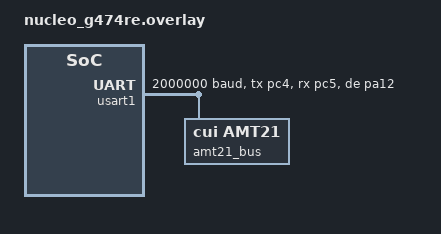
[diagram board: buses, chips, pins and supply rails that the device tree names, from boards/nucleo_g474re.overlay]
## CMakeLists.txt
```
#-------------------------------------------------------------------------------
# Zephyr Example Application
#
# Copyright (c) 2021 Nordic Semiconductor ASA
# SPDX-License-Identifier: Apache-2.0

cmake_minimum_required(VERSION 3.13.1)
find_package(Zephyr REQUIRED HINTS $ENV{ZEPHYR_BASE})

project(app LANGUAGES C CXX)

target_sources(app PRIVATE src/main.cpp src/robomaster_protocol.cpp)
```

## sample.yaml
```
# SPDX-License-Identifier: Apache-2.0
#
# Twister descriptor for the application. Only the metadata twister needs to
# discover the app lives here; the source under src/ and the overlays under
# boards/ are unchanged.

sample:
  name: example-application
  description: Example application

common:
  build_only: true
  integration_platforms:
    - nucleo_g474re

tests:
  app.default: {}
  app.debug:
    extra_overlay_confs:
      - debug.conf
```

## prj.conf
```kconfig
# Copyright (c) 2021 Nordic Semiconductor ASA
# SPDX-License-Identifier: Apache-2.0
#
# This file contains selected Kconfig options for the application.

CONFIG_SENSOR=y
CONFIG_BLINK=y
CONFIG_MOTOR=y
CONFIG_ENCODER=y

# The AMT21 transport keeps reception permanently enabled through the
# asynchronous UART API, which is backed by DMA on STM32.
CONFIG_UART_ASYNC_API=y

CONFIG_LOG=y
# CONFIG_USB_DRIVER_LOG_LEVEL_ERR=y
# CONFIG_USB_DEVICE_LOG_LEVEL_ERR=y
# CONFIG_USB_DEVICE_GS_USB_LOG_LEVEL_DBG=y
# CONFIG_CANNECTIVITY_LOG_LEVEL_DBG=y

# CONFIG_USB_DEVICE_STACK=y
# CONFIG_USB_DEVICE_BOS=y
# CONFIG_USB_DEVICE_INITIALIZE_AT_BOOT=n

CONFIG_CAN=y
CONFIG_CAN_FD_MODE=y
CONFIG_LTO=y
CONFIG_ISR_TABLES_LOCAL_DECLARATION=y
```

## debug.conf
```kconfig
# Copyright (c) 2021 Nordic Semiconductor ASA
# SPDX-License-Identifier: Apache-2.0
#
# This is a Kconfig fragment which can be used to enable debug-related options
# in the application. See the README for more details.

# compiler
CONFIG_DEBUG_OPTIMIZATIONS=y

# logging
CONFIG_LOG=y
CONFIG_APP_LOG_LEVEL_DBG=y

# AMT21 diagnostics. The per-cause counters tell a checksum failure apart from a
# timeout or a framing desync, and the error log keeps the raw bytes that were
# received, which is what makes a dropped response diagnosable at all.
CONFIG_ENCODER_AMT21_STATS=y
CONFIG_ENCODER_AMT21_ERROR_LOG_SIZE=16
```

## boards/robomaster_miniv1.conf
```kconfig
CONFIG_DEPRECATION_TEST=y

CONFIG_USB_DEVICE_STACK=y
CONFIG_USB_DEVICE_BOS=y
CONFIG_USB_COMPOSITE_DEVICE=y

CONFIG_USB_DEVICE_MANUFACTURER="Fibril"
CONFIG_USB_DEVICE_PRODUCT="RoboMaster Mini V1"
CONFIG_USB_DEVICE_GS_USB_MAX_CHANNELS=1

CONFIG_ISR_TABLES_LOCAL_DECLARATION=n
CONFIG_LTO=n
```

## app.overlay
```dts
/*
 * Copyright (c) 2022-2025 Henrik Brix Andersen <henrik@brixandersen.dk>
 *
 * SPDX-License-Identifier: Apache-2.0
 */

/ {
    // gs_usb0: gs_usb0 {
        //     compatible = "gs_usb";
        //     label = "gs_usb";
    // };
};
```

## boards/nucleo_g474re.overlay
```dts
/*
 * Copyright (c) 2021 Nordic Semiconductor ASA
 * SPDX-License-Identifier: Apache-2.0
 */

/* This devicetree overlay file will be automatically picked by the Zephyr
 * build system when building the sample for the nucleo_f302r8 board. It shows
 * how the example-application can be built on sample boards already provided
 * by Zephyr.
 */

/ {
    robomaster_controller: robomaster-controller {
        compatible = "dji,robomaster";
        #address-cells = <1>;
        #size-cells = <0>;
        cans = <&fdcan1>;
        feedback-timeout-ms = <100>;

        motor_front_left: motor@1 {
            compatible = "dji,robomaster-motor";
            reg = <1>;
            model = "c620";
            max-current = <10000>;
        };

        motor_front_right: motor@2 {
            compatible = "dji,robomaster-motor";
            reg = <2>;
            model = "c620";
            max-current = <10000>;
        };
    };
};

/*
 * AMT21x absolute encoders on a half-duplex RS485 bus.
 *
 * PLACEHOLDER PIN ASSIGNMENT. USART1 is used because the board already brings it
 * out on PC4/PC5 and because LPUART1 is taken by the console. The driver enable
 * output is put on PA12, which nothing else on this board claims. Confirm all
 * three against the actual wiring before relying on this.
 */
&usart1 {
    /* 2 Mbps is the rate of the A to D options of the series. The E to H options
     * default to 115200; lower this and raise response-timeout-us for those.
     */
    current-speed = <2000000>;

    pinctrl-0 = <&usart1_tx_pc4 &usart1_rx_pc5 &usart1_de_pa12>;
    pinctrl-names = "default";

    /*
     * Let the USART drive the transceiver itself. Toggling driver enable from
     * software would add latency around the 3 us turnaround window and is not
     * viable at 2 Mbps.
     *
     * Keep the assert and deassert times small. They are in sixteenths of a bit
     * time, and a large deassert time holds the transceiver enabled past our own
     * stop bit, straight into the window where the encoder starts replying. That
     * collision corrupts both frames.
     */
    de-enable;
    de-assert-time = <2>;
    de-deassert-time = <2>;

    /* The asynchronous API is backed by DMA on STM32: uart_rx_enable() returns
     * -ENODEV without it. 24 and 25 are the DMAMUX request lines for USART1 RX
     * and TX on this SoC.
     */
    dmas = <&dma1 1 25 (STM32_DMA_PERIPH_TX | STM32_DMA_PRIORITY_HIGH)>,
           <&dma1 2 24 (STM32_DMA_PERIPH_RX | STM32_DMA_PRIORITY_HIGH)>;
    dma-names = "tx", "rx";

    status = "okay";

    amt21_bus: amt21 {
        compatible = "cui,amt21";
        #address-cells = <1>;
        #size-cells = <0>;

        /* The absolute position update rate of the encoder is 100 us for 14-bit
         * and 25 us for 12-bit devices, so polling faster gains nothing.
         */
        poll-interval-us = <1000>;
        response-timeout-us = <200>;
        inter-command-delay-us = <100>;
        rx-quiet-period-us = <20>;
        max-retries = <2>;
        offline-threshold = <3>;

        /* 100 ms is long enough that an absent encoder costs the bus nothing
         * worth measuring, and short enough that reconnecting one does not feel
         * unresponsive.
         */
        offline-poll-interval-us = <100000>;

        /* The turns counter is read only to rebuild the accumulator, which is
         * all the accumulated position needs. Add poll-turns to either node to
         * watch the device's own counter during bring-up, at the cost of
         * doubling what that encoder takes from the bus.
         */
        encoder_left: encoder@54 {
            compatible = "cui,amt21-encoder";
            reg = <0x54>;
            resolution = <14>;
            multiturn;
        };

        encoder_right: encoder@58 {
            compatible = "cui,amt21-encoder";
            reg = <0x58>;
            resolution = <14>;
            multiturn;
        };
    };
};

&dma1 {
    status = "okay";
};

&dmamux1 {
    status = "okay";
};
```

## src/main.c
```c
/*
 * Copyright (c) 2021 Nordic Semiconductor ASA
 * SPDX-License-Identifier: Apache-2.0
 */

#include <inttypes.h>
#include <stdlib.h>

#include <app/drivers/blink.h>
#include <app_version.h>
#include <drivers/encoder.h>
#include <drivers/encoder/amt21.h>
#include <drivers/motor.h>
#include <zephyr/drivers/sensor.h>
#include <zephyr/kernel.h>
#include <zephyr/logging/log.h>

LOG_MODULE_REGISTER(main, CONFIG_APP_LOG_LEVEL);

#define BLINK_PERIOD_MS_STEP 100U
#define BLINK_PERIOD_MS_MAX 1000U

#define ENCODER_REPORT_PERIOD K_MSEC(1000)

#if DT_NODE_EXISTS(DT_NODELABEL(encoder_left))

static void report_encoder(const struct device * dev)
{
  struct encoder_feedback fb;
  int ret = encoder_get_feedback(dev, &fb);

  /* A stale reading still carries the last good value, so print it along with
   * the reason it is not fresh rather than discarding it.
   */
  /* Velocity has no value until a second reading gives it an interval to be
   * measured over, so printing it unconditionally would show a stale number
   * after every rebuild of the accumulator.
   */
  if ((fb.valid_mask & ENCODER_FEEDBACK_VELOCITY) != 0U) {
    LOG_INF(
      "%s: ret=%d pos=%" PRId64 " vel=%d single=%u turns=%d epoch=%u online=%d stale=%d "
      "errors=%u",
      dev->name, ret, fb.position, fb.velocity, fb.single_turn, fb.turns, fb.position_epoch,
      (int)fb.online, (int)fb.stale, fb.error_count);
  } else {
    LOG_INF(
      "%s: ret=%d pos=%" PRId64 " vel=n/a single=%u turns=%d epoch=%u online=%d stale=%d "
      "errors=%u",
      dev->name, ret, fb.position, fb.single_turn, fb.turns, fb.position_epoch, (int)fb.online,
      (int)fb.stale, fb.error_count);
  }

#if defined(CONFIG_ENCODER_AMT21_STATS)
  struct amt21_stats stats;

  if (amt21_get_stats(dev, &stats) == 0) {
    LOG_INF(
      "  transactions=%u ok=%u timeout=%u checksum=%u desync=%u echo=%u bus=%u retries=%u",
      stats.transactions, stats.successes, stats.errors[AMT21_ERROR_TIMEOUT],
      stats.errors[AMT21_ERROR_CHECKSUM], stats.errors[AMT21_ERROR_DESYNC],
      stats.errors[AMT21_ERROR_ECHO], stats.errors[AMT21_ERROR_BUS], stats.retries);
  }
#endif
}

static void report_bus(void)
{
#if defined(CONFIG_ENCODER_AMT21_STATS)
  const struct device * bus = DEVICE_DT_GET(DT_NODELABEL(amt21_bus));
  struct amt21_bus_stats stats;

  if (amt21_bus_get_stats(bus, &stats) == 0) {
    LOG_INF(
      "%s: scans=%u skipped=%u rx_restarts=%u framing=%u overrun=%u stray=%u", bus->name,
      stats.scans, stats.scans_skipped, stats.rx_restarts, stats.framing_errors,
      stats.overrun_errors, stats.stray_bytes);
  }
#endif
}

#endif /* DT_NODE_EXISTS(DT_NODELABEL(encoder_left)) */

int main(void)
{
  const struct device * robomaster = DEVICE_DT_GET(DT_NODELABEL(robomaster_controller));
  ARG_UNUSED(robomaster);

#if DT_NODE_EXISTS(DT_NODELABEL(encoder_left))
  const struct device * encoder_left = DEVICE_DT_GET(DT_NODELABEL(encoder_left));
  const struct device * encoder_right = DEVICE_DT_GET(DT_NODELABEL(encoder_right));

  if (!device_is_ready(encoder_left)) {
    LOG_ERR("%s is not ready", encoder_left->name);
    return -ENODEV;
  }

  while (true) {
    report_encoder(encoder_left);
    report_encoder(encoder_right);
    report_bus();

    k_sleep(ENCODER_REPORT_PERIOD);
  }
#endif

  return 0;
}
```

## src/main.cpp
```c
/*
 * Copyright (c) 2021 Nordic Semiconductor ASA
 * SPDX-License-Identifier: Apache-2.0
 */

#include <array>
#include <cerrno>

#include <app_version.h>
#include <drivers/motor.h>
#include <fibril/motor_control.hpp>
#include <fibril/robomaster_protocol.hpp>
#include <zephyr/device.h>
#include <zephyr/devicetree.h>
#include <zephyr/kernel.h>
#include <zephyr/logging/log.h>

#if defined(CONFIG_USB_DEVICE_GS_USB)
#include <zephyr/usb/bos.h>
#include <zephyr/usb/usb_device.h>

#include <cannectivity/usb/class/gs_usb.h>
#endif

LOG_MODULE_REGISTER(main, CONFIG_APP_LOG_LEVEL);

#if defined(CONFIG_USB_DEVICE_GS_USB)
USB_DEVICE_BOS_DESC_DEFINE_CAP const struct usb_bos_capability_lpm bos_cap_lpm = {
  .bLength = sizeof(struct usb_bos_capability_lpm),
  .bDescriptorType = USB_DESC_DEVICE_CAPABILITY,
  .bDevCapabilityType = USB_BOS_CAPABILITY_EXTENSION,
  .bmAttributes = 0UL,
};

static int app_usb_init(void)
{
  usb_bos_register_cap((void *)&bos_cap_lpm);

  return usb_enable(NULL);
}
#endif

namespace
{
constexpr std::array<const struct device *, fibril::MotorControlService::MotorCount> motor_devices = {
  DEVICE_DT_GET(DT_NODELABEL(motor_1)),
  DEVICE_DT_GET(DT_NODELABEL(motor_2)),
  DEVICE_DT_GET(DT_NODELABEL(motor_3)),
  DEVICE_DT_GET(DT_NODELABEL(motor_4)),
  DEVICE_DT_GET(DT_NODELABEL(motor_5)),
  DEVICE_DT_GET(DT_NODELABEL(motor_6)),
  DEVICE_DT_GET(DT_NODELABEL(motor_7)),
  DEVICE_DT_GET(DT_NODELABEL(motor_8)),
};

constexpr std::array<fibril::MotorControlConfig, fibril::MotorControlService::MotorCount>
  motor_configs = {{
    {DEVICE_DT_GET(DT_NODELABEL(motor_1)), DT_PROP(DT_NODELABEL(motor_1), max_current)},
    {DEVICE_DT_GET(DT_NODELABEL(motor_2)), DT_PROP(DT_NODELABEL(motor_2), max_current)},
    {DEVICE_DT_GET(DT_NODELABEL(motor_3)), DT_PROP(DT_NODELABEL(motor_3), max_current)},
    {DEVICE_DT_GET(DT_NODELABEL(motor_4)), DT_PROP(DT_NODELABEL(motor_4), max_current)},
    {DEVICE_DT_GET(DT_NODELABEL(motor_5)), DT_PROP(DT_NODELABEL(motor_5), max_current)},
    {DEVICE_DT_GET(DT_NODELABEL(motor_6)), DT_PROP(DT_NODELABEL(motor_6), max_current)},
    {DEVICE_DT_GET(DT_NODELABEL(motor_7)), DT_PROP(DT_NODELABEL(motor_7), max_current)},
    {DEVICE_DT_GET(DT_NODELABEL(motor_8)), DT_PROP(DT_NODELABEL(motor_8), max_current)},
  }};
}  // namespace

extern "C" int main(void)
{
  int ret;

#if DT_NODE_HAS_STATUS(DT_NODELABEL(robomaster_controller), okay)
  const struct device * robomaster = DEVICE_DT_GET(DT_NODELABEL(robomaster_controller));

  if (!device_is_ready(robomaster)) {
    LOG_ERR("RoboMaster transport is not ready");
    return -ENODEV;
  }
#endif

  for (const struct device * motor : motor_devices) {
    if (!device_is_ready(motor)) {
      LOG_ERR("A motor device is not ready");
      return -ENODEV;
    }
  }

#if DT_NODE_HAS_STATUS(DT_NODELABEL(fdcan1), okay)
  const struct device * control_can = DEVICE_DT_GET(DT_NODELABEL(fdcan1));
  if (!device_is_ready(control_can)) {
    LOG_ERR("Control CAN is not ready");
    return -ENODEV;
  }
#else
  LOG_ERR("Control CAN is missing");
  return -ENODEV;
#endif

#if DT_NODE_HAS_STATUS(DT_NODELABEL(fdcan2), okay)
  if (!device_is_ready(DEVICE_DT_GET(DT_NODELABEL(fdcan2)))) {
    LOG_ERR("Motor CAN0 is not ready");
    return -ENODEV;
  }
#endif

#if DT_NODE_HAS_STATUS(DT_NODELABEL(fdcan3), okay)
  if (!device_is_ready(DEVICE_DT_GET(DT_NODELABEL(fdcan3)))) {
    LOG_ERR("Motor CAN1 is not ready");
    return -ENODEV;
  }
#endif

#if defined(CONFIG_USB_DEVICE_GS_USB) && DT_HAS_CHOSEN(zephyr_canbus) && \
  DT_NODE_HAS_STATUS(DT_NODELABEL(gs_usb0), okay)
  const struct device * gs_usb = DEVICE_DT_GET(DT_NODELABEL(gs_usb0));
  const struct device * channels[] = {
    DEVICE_DT_GET(DT_CHOSEN(zephyr_canbus)),
  };

  if (!device_is_ready(gs_usb)) {
    LOG_ERR("gs_usb device is not ready");
    return -ENODEV;
  }

  ret = gs_usb_register(gs_usb, channels, ARRAY_SIZE(channels), NULL, NULL);
  if (ret != 0) {
    LOG_ERR("Failed to register gs_usb: %d", ret);
    return ret;
  }

  ret = app_usb_init();
  if (ret != 0) {
    LOG_ERR("Failed to initialize USB: %d", ret);
    return ret;
  }
#endif

  static fibril::MotorControlService motor_control;
  ret = motor_control.init(motor_configs);
  if (ret != 0) {
    LOG_ERR("Failed to initialize motor control: %d", ret);
    return ret;
  }

  ret = motor_control.start();
  if (ret != 0) {
    LOG_ERR("Failed to start motor control: %d", ret);
    return ret;
  }

  static fibril::RoboMasterProtocolService protocol(control_can, motor_control, motor_devices);
  ret = protocol.start();
  if (ret != 0) {
    LOG_ERR("Failed to start RoboMaster protocol: %d", ret);
    return ret;
  }

  LOG_INF("RoboMaster Mini V1 control stack ready");
  return 0;
}
```

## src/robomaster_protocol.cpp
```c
#include <fibril/robomaster_protocol.hpp>

#include <array>
#include <bitset>
#include <cerrno>
#include <cstdint>
#include <cstring>

#include <drivers/motor.h>
#include <fibril/data/serde.hpp>
#include <zephyr/drivers/can.h>
#include <zephyr/kernel.h>
#include <zephyr/logging/log.h>
#include <zephyr/sys/util.h>

LOG_MODULE_REGISTER(robomaster_protocol, CONFIG_APP_LOG_LEVEL);

namespace fibril
{
namespace
{
using CANID = uint16_t;
using MotorID = uint8_t;
using TestData = uint8_t;

constexpr CANID HeartbeatId = 0x10;
constexpr CANID ProtocolOffset = 0x00;
constexpr CANID CmdId = 0x170;
constexpr CANID CallbackId = 0x160;
constexpr uint8_t ProtocolVersion = 6;
constexpr uintptr_t OwnerToken = 0x524d4d31U;
constexpr size_t FrameQueueLen = 16;
constexpr int ThreadStackSize = 4096;

enum class Command : uint8_t {
  RESET,
  TEST,
  CMD_SET_DUTY,
  CMD_SET_SPEED,
  CMD_SET_CURRENT,
  CMD_SUB_SETTING,
  DEPRECATED_CALLBACK_ENC_DIFF,
  CALLBACK_OUTPUT_VALUE,
  CALLBACK_CURRENT_VALUE,
  CMD_SET_POSITION,
  CMD_SET_ENCODER_VALUE,
  CMD_SET_POSITION_WITH_SPEED,
  CMD_RESET_SAFETY,
  CALLBACK_MOTOR_STATUS,
  CALLBACK_ENC_VALUE,
  CMD_RESET_ENCODER_VALUE,
  ENABLE_FEATURE,
  DISABLE_FEATURE,
  CALLBACK_ARRIVAL,
  CMD_CALIBRATION_START,
  CALLBACK_CALIBRATION_DATA,
  CMD_SET_ENCODER_OFFSET,
  RESERVED_1,
  CALLBACK_BULK_POSITION,
  CALLBACK_BULK_CURRENT,
  CALLBACK_BULK_OUTPUT,
  CALLBACK_BULK_ADC,
  CALLBACK_BULK_VELOCITY,
  CMD_CALIBRATION_FINISH,
};

enum class Config : uint8_t {
  DUTY_SEND,
  ENCODER_GAIN,
  ENCODER_SEND,
  CURRENT_SEND,
  SPEED_CONTROLLER_MAX,
  SPEED_CONTROLLER_KP,
  SPEED_CONTROLLER_KI,
  SPEED_CONTROLLER_KD,
  CURRENT_CONTROLLER_MAX,
  CURRENT_CONTROLLER_KP,
  CURRENT_CONTROLLER_KI,
  CURRENT_CONTROLLER_KD,
  CMD_TIMEOUT,
  POSITION_CONTROLLER_MAX,
  POSITION_CONTROLLER_KP,
  POSITION_CONTROLLER_KI,
  POSITION_CONTROLLER_KD,
  POSITION_SPEED_CONTROLLER_MAX,
  POSITION_SPEED_CONTROLLER_KP,
  POSITION_SPEED_CONTROLLER_KI,
  POSITION_SPEED_CONTROLLER_KD,
  SAFETY_ENCODER_TIMEOUT,
  ENCODER_SEND_SUM,
  DUTY_DELTA_MAX,
  LIMIT_PROFILE_APPLY,
  LIMIT_PROFILE_CLEAR,
  LIMIT_PROFILE_ADD_POINT,
  LIMIT_PROFILE_SET_FORWARD_SPEED_LIMIT,
  LIMIT_PROFILE_SET_BACKWARD_SPEED_LIMIT,
  LIMIT_PROFILE_SET_ACCELERATION_LIMIT,
  LIMIT_PROFILE_SET_DECELERATION_LIMIT,
  CALIBRATION_CONFIG_PORT,
  CALIBRATION_CONFIG_MAPPING,
  POSITION_TOLERANCE,
  CONTROL_FREQUENCY,
  SPEED_LOW_PASS_FILTER_COEFFICIENT,
  SPEED_CONTROLLER_I_SATURATION,
  POSITION_CONTROLLER_I_SATURATION,
  CURRENT_CONTROLLER_I_SATURATION,
  BULK_POSITION_CALLBACK_INTERVAL,
  BULK_CURRENT_CALLBACK_INTERVAL,
  BULK_OUTPUT_CALLBACK_INTERVAL,
  BULK_ADC_CALLBACK_INTERVAL,
  BULK_VELOCITY_CALLBACK_INTERVAL,
};

enum class Response : uint8_t {
  SUCCESS,
  ERROR_UNKNOWN_CODE,
  ERROR_OUT_OF_RANGE,
  ERROR_NO_ITEM,
  ERROR_MOTOR_IS_USED,
};

struct ProtocolFrame
{
  uint32_t id;
  uint8_t dlc;
  uint8_t flags;
  uint8_t data[64];
};

K_MSGQ_DEFINE(robomaster_protocol_msgq, sizeof(ProtocolFrame), FrameQueueLen, 4);
}  // namespace

struct RoboMasterProtocolService::Impl
{
  const struct device * control_can;
  MotorControlService & motor_control;
  const std::array<const struct device *, MotorCount> & motors;
  SoftwareWatchdog board_watchdog{1000};
  int cmd_filter_id = -1;
  int heartbeat_filter_id = -1;
  struct k_thread thread;
  k_tid_t thread_id = nullptr;
  K_KERNEL_STACK_MEMBER(stack, ThreadStackSize);

  std::array<float, MotorCount> speed_kp{};
  std::array<float, MotorCount> speed_ki{};
  std::array<float, MotorCount> speed_kd{};
  std::array<float, MotorCount> speed_max{};
  std::array<float, MotorCount> position_kp{};
  std::array<float, MotorCount> position_ki{};
  std::array<float, MotorCount> position_kd{};
  std::array<float, MotorCount> position_max{};

  Impl(
    const struct device * control_can, MotorControlService & motor_control,
    const std::array<const struct device *, MotorCount> & motors)
  : control_can(control_can), motor_control(motor_control), motors(motors)
  {
    speed_max.fill(1.0f);
    position_max.fill(1.0f);
  }

  static void rx_callback(
    const struct device *, struct can_frame * frame, void * user_data)
  {
    auto * self = static_cast<Impl *>(user_data);
    ProtocolFrame queued = {
      .id = frame->id,
      .dlc = frame->dlc,
      .flags = frame->flags,
    };
    std::memcpy(queued.data, frame->data, can_dlc_to_bytes(frame->dlc));
    const int ret = k_msgq_put(&robomaster_protocol_msgq, &queued, K_NO_WAIT);
    if (ret != 0) {
      LOG_WRN("Protocol RX queue full");
    }
    ARG_UNUSED(self);
  }

  static void thread_entry(void * arg1, void *, void *)
  {
    static_cast<Impl *>(arg1)->run();
  }

  bool connected() const
  {
    return board_watchdog.alive();
  }

  template <typename... Args>
  int send_serialized(Args &&... args)
  {
    struct can_frame frame = {
      .id = CallbackId + ProtocolOffset,
      .flags = 0U,
    };
    static_assert(fibril::serde::get_size<Args...>() <= 64);
    const size_t len = fibril::serde::write(frame.data, std::forward<Args>(args)...);
    frame.dlc = can_bytes_to_dlc(len);
    if (len > CAN_MAX_DLEN) {
      frame.flags |= CAN_FRAME_FDF;
    }
    return can_send(control_can, &frame, K_MSEC(10), nullptr, nullptr);
  }

  void run()
  {
    int64_t last_heartbeat_ms = 0;
    int64_t last_status_ms = 0;

    while (true) {
      ProtocolFrame frame = {};
      const int ret = k_msgq_get(&robomaster_protocol_msgq, &frame, K_MSEC(20));
      if (ret == 0) {
        handle_frame(frame);
      }

      const int64_t now = k_uptime_get();
      if (connected() && (now - last_heartbeat_ms >= 100)) {
        (void)send_serialized(Command::TEST);
        last_heartbeat_ms = now;
      }
      if (connected() && (now - last_status_ms >= 1000)) {
        send_status();
        last_status_ms = now;
      }
      if (!connected()) {
        motor_control.reset_all();
      }
    }
  }

  void handle_frame(const ProtocolFrame & frame)
  {
    const auto len = can_dlc_to_bytes(frame.dlc);
    if (frame.id == HeartbeatId) {
      if (fibril::serde::read_callback(
            frame.data, len,
            [this](fibril::serde::constant<Command, Command::TEST>) { board_watchdog.kick(); })) {
        return;
      }
    }

    if (frame.id != (CmdId + ProtocolOffset)) {
      return;
    }

    if (fibril::serde::read_callback(
          frame.data, len,
          [this](fibril::serde::constant<Command, Command::RESET>) { motor_control.reset_all(); })) {
      return;
    }

    if (fibril::serde::read_callback(
          frame.data, len,
          [this](fibril::serde::constant<Command, Command::TEST>, uint8_t version, TestData test) {
            ARG_UNUSED(version);
            board_watchdog.reset();
            (void)send_serialized(Command::TEST, ProtocolVersion, test);
          })) {
      return;
    }

    if (!connected()) {
      return;
    }

    if (fibril::serde::read_callback(
          frame.data, len,
          [this](fibril::serde::constant<Command, Command::ENABLE_FEATURE>, MotorID id) {
            handle_enable_feature(id);
          },
          [this](fibril::serde::constant<Command, Command::DISABLE_FEATURE>, MotorID id) {
            handle_disable_feature(id);
          },
          [this](fibril::serde::constant<Command, Command::CMD_SET_DUTY>, MotorID id, float value) {
            handle_set_duty(id, value);
          },
          [this](fibril::serde::constant<Command, Command::CMD_SET_SPEED>, MotorID id, float value) {
            handle_set_speed(id, value);
          },
          [this](
            fibril::serde::constant<Command, Command::CMD_SET_POSITION>, MotorID id, float value) {
            handle_set_position(id, value);
          },
          [this](
            fibril::serde::constant<Command, Command::CMD_SET_POSITION_WITH_SPEED>, MotorID id,
            float value) { handle_set_position_speed(id, value); },
          [this](
            fibril::serde::constant<Command, Command::CMD_SET_ENCODER_VALUE>, MotorID id,
            float value) { handle_set_encoder_value(id, value); },
          [this](fibril::serde::constant<Command, Command::CMD_RESET_SAFETY>, MotorID id) {
            handle_reset_safety(id);
          },
          [this](fibril::serde::constant<Command, Command::CMD_RESET_ENCODER_VALUE>, MotorID id) {
            handle_reset_encoder(id);
          })) {
      board_watchdog.kick();
      return;
    }

    if (handle_config(frame.data, len)) {
      board_watchdog.kick();
    }
  }

  bool validate_motor_id(MotorID id, Command cmd)
  {
    if (id >= MotorCount) {
      (void)send_serialized(cmd, id, Response::ERROR_OUT_OF_RANGE);
      return false;
    }
    return true;
  }

  bool ensure_claimed(MotorID id, Command cmd)
  {
    if (!motor_control.claim(id, OwnerToken)) {
      (void)send_serialized(cmd, id, Response::ERROR_MOTOR_IS_USED);
      return false;
    }
    return true;
  }

  void handle_enable_feature(MotorID id)
  {
    if (!validate_motor_id(id, Command::ENABLE_FEATURE)) {
      return;
    }
    if (!ensure_claimed(id, Command::ENABLE_FEATURE)) {
      return;
    }
    (void)send_serialized(Command::ENABLE_FEATURE, id, Response::SUCCESS);
  }

  void handle_disable_feature(MotorID id)
  {
    if (!validate_motor_id(id, Command::DISABLE_FEATURE)) {
      return;
    }
    motor_control.release(id, OwnerToken);
    (void)send_serialized(Command::DISABLE_FEATURE, id, Response::SUCCESS);
  }

  void handle_set_duty(MotorID id, float value)
  {
    if (!validate_motor_id(id, Command::CMD_SET_DUTY) ||
        !ensure_claimed(id, Command::CMD_SET_DUTY)) {
      return;
    }
    (void)motor_control.set_duty(id, value);
  }

  void handle_set_speed(MotorID id, float value)
  {
    if (!validate_motor_id(id, Command::CMD_SET_SPEED) ||
        !ensure_claimed(id, Command::CMD_SET_SPEED)) {
      return;
    }
    (void)motor_control.set_speed(id, value);
  }

  void handle_set_position(MotorID id, float value)
  {
    if (!validate_motor_id(id, Command::CMD_SET_POSITION) ||
        !ensure_claimed(id, Command::CMD_SET_POSITION)) {
      return;
    }
    (void)motor_control.set_position(id, value);
  }

  void handle_set_position_speed(MotorID id, float value)
  {
    if (!validate_motor_id(id, Command::CMD_SET_POSITION_WITH_SPEED) ||
        !ensure_claimed(id, Command::CMD_SET_POSITION_WITH_SPEED)) {
      return;
    }
    (void)motor_control.set_position_speed(id, value);
  }

  void handle_set_encoder_value(MotorID id, float value)
  {
    if (!validate_motor_id(id, Command::CMD_SET_ENCODER_VALUE)) {
      return;
    }
    const int ret = motor_control.set_encoder_value(id, value);
    (void)send_serialized(
      Command::CMD_SET_ENCODER_VALUE, id,
      ret == 0 ? Response::SUCCESS : Response::ERROR_UNKNOWN_CODE);
  }

  void handle_reset_safety(MotorID id)
  {
    if (!validate_motor_id(id, Command::CMD_RESET_SAFETY)) {
      return;
    }
    const int ret = motor_control.reset_safety(id);
    (void)send_serialized(
      Command::CMD_RESET_SAFETY, id, ret == 0 ? Response::SUCCESS : Response::ERROR_UNKNOWN_CODE);
  }

  void handle_reset_encoder(MotorID id)
  {
    if (!validate_motor_id(id, Command::CMD_RESET_ENCODER_VALUE)) {
      return;
    }
    const int ret = motor_control.reset_encoder(id);
    (void)send_serialized(
      Command::CMD_RESET_ENCODER_VALUE, id,
      ret == 0 ? Response::SUCCESS : Response::ERROR_UNKNOWN_CODE);
  }

  bool handle_config(const uint8_t * data, size_t len)
  {
    return fibril::serde::read_callback(
      data, len,
      [this](
        fibril::serde::constant<Command, Command::CMD_SUB_SETTING>,
        fibril::serde::constant<Config, Config::CMD_TIMEOUT>, uint16_t timeout_ms) {
        board_watchdog.set_timeout(timeout_ms);
        (void)send_serialized(Command::CMD_SUB_SETTING, Config::CMD_TIMEOUT, Response::SUCCESS);
      },
      [this](
        fibril::serde::constant<Command, Command::CMD_SUB_SETTING>,
        fibril::serde::constant<Config, Config::SPEED_CONTROLLER_KP>, MotorID id, float value) {
        set_speed_pid_gain(id, value, speed_ki.at(id), speed_kd.at(id), speed_max.at(id), Config::SPEED_CONTROLLER_KP);
      },
      [this](
        fibril::serde::constant<Command, Command::CMD_SUB_SETTING>,
        fibril::serde::constant<Config, Config::SPEED_CONTROLLER_KI>, MotorID id, float value) {
        set_speed_pid_gain(id, speed_kp.at(id), value, speed_kd.at(id), speed_max.at(id), Config::SPEED_CONTROLLER_KI);
      },
      [this](
        fibril::serde::constant<Command, Command::CMD_SUB_SETTING>,
        fibril::serde::constant<Config, Config::SPEED_CONTROLLER_KD>, MotorID id, float value) {
        set_speed_pid_gain(id, speed_kp.at(id), speed_ki.at(id), value, speed_max.at(id), Config::SPEED_CONTROLLER_KD);
      },
      [this](
        fibril::serde::constant<Command, Command::CMD_SUB_SETTING>,
        fibril::serde::constant<Config, Config::SPEED_CONTROLLER_MAX>, MotorID id, float value) {
        set_speed_pid_gain(id, speed_kp.at(id), speed_ki.at(id), speed_kd.at(id), value, Config::SPEED_CONTROLLER_MAX);
      },
      [this](
        fibril::serde::constant<Command, Command::CMD_SUB_SETTING>,
        fibril::serde::constant<Config, Config::POSITION_CONTROLLER_KP>, MotorID id, float value) {
        set_position_pid_gain(id, value, position_ki.at(id), position_kd.at(id), position_max.at(id), Config::POSITION_CONTROLLER_KP);
      },
      [this](
        fibril::serde::constant<Command, Command::CMD_SUB_SETTING>,
        fibril::serde::constant<Config, Config::POSITION_CONTROLLER_KI>, MotorID id, float value) {
        set_position_pid_gain(id, position_kp.at(id), value, position_kd.at(id), position_max.at(id), Config::POSITION_CONTROLLER_KI);
      },
      [this](
        fibril::serde::constant<Command, Command::CMD_SUB_SETTING>,
        fibril::serde::constant<Config, Config::POSITION_CONTROLLER_KD>, MotorID id, float value) {
        set_position_pid_gain(id, position_kp.at(id), position_ki.at(id), value, position_max.at(id), Config::POSITION_CONTROLLER_KD);
      },
      [this](
        fibril::serde::constant<Command, Command::CMD_SUB_SETTING>,
        fibril::serde::constant<Config, Config::POSITION_CONTROLLER_MAX>, MotorID id, float value) {
        set_position_pid_gain(id, position_kp.at(id), position_ki.at(id), position_kd.at(id), value, Config::POSITION_CONTROLLER_MAX);
      },
      [this](
        fibril::serde::constant<Command, Command::CMD_SUB_SETTING>,
        fibril::serde::constant<Config, Config::DUTY_DELTA_MAX>, MotorID id, float value) {
        if (id >= MotorCount) {
          (void)send_serialized(Command::CMD_SUB_SETTING, Config::DUTY_DELTA_MAX, id, Response::ERROR_OUT_OF_RANGE);
          return;
        }
        const int ret = motor_control.configure_duty_acceleration_limit(id, value);
        (void)send_serialized(
          Command::CMD_SUB_SETTING, Config::DUTY_DELTA_MAX, id,
          ret == 0 ? Response::SUCCESS : Response::ERROR_UNKNOWN_CODE);
      },
      [this](
        fibril::serde::constant<Command, Command::CMD_SUB_SETTING>,
        fibril::serde::constant<Config, Config::POSITION_TOLERANCE>, MotorID id, float value) {
        if (id >= MotorCount) {
          (void)send_serialized(Command::CMD_SUB_SETTING, Config::POSITION_TOLERANCE, id, Response::ERROR_OUT_OF_RANGE);
          return;
        }
        motor_control.set_position_tolerance(id, value);
        (void)send_serialized(Command::CMD_SUB_SETTING, Config::POSITION_TOLERANCE, id, Response::SUCCESS);
      },
      [this](
        fibril::serde::constant<Command, Command::CMD_SUB_SETTING>,
        fibril::serde::constant<Config, Config::SPEED_LOW_PASS_FILTER_COEFFICIENT>, MotorID id,
        float value) {
        if (id >= MotorCount) {
          (void)send_serialized(Command::CMD_SUB_SETTING, Config::SPEED_LOW_PASS_FILTER_COEFFICIENT, id, Response::ERROR_OUT_OF_RANGE);
          return;
        }
        const int ret = motor_control.configure_speed_filter(id, value);
        (void)send_serialized(
          Command::CMD_SUB_SETTING, Config::SPEED_LOW_PASS_FILTER_COEFFICIENT, id,
          ret == 0 ? Response::SUCCESS : Response::ERROR_OUT_OF_RANGE);
      });
  }

  void set_speed_pid_gain(
    MotorID id, float kp, float ki, float kd, float max_output, Config config)
  {
    if (id >= MotorCount) {
      (void)send_serialized(Command::CMD_SUB_SETTING, config, id, Response::ERROR_OUT_OF_RANGE);
      return;
    }
    speed_kp.at(id) = kp;
    speed_ki.at(id) = ki;
    speed_kd.at(id) = kd;
    speed_max.at(id) = max_output;
    const int ret = motor_control.configure_speed_pid(id, kp, ki, kd, max_output);
    (void)send_serialized(
      Command::CMD_SUB_SETTING, config, id, ret == 0 ? Response::SUCCESS : Response::ERROR_UNKNOWN_CODE);
  }

  void set_position_pid_gain(
    MotorID id, float kp, float ki, float kd, float max_output, Config config)
  {
    if (id >= MotorCount) {
      (void)send_serialized(Command::CMD_SUB_SETTING, config, id, Response::ERROR_OUT_OF_RANGE);
      return;
    }
    position_kp.at(id) = kp;
    position_ki.at(id) = ki;
    position_kd.at(id) = kd;
    position_max.at(id) = max_output;
    const int ret = motor_control.configure_position_pid(id, kp, ki, kd, max_output);
    (void)send_serialized(
      Command::CMD_SUB_SETTING, config, id, ret == 0 ? Response::SUCCESS : Response::ERROR_UNKNOWN_CODE);
  }

  void send_status()
  {
    std::bitset<16> connected_bits;
    std::bitset<16> safe_bits;

    for (std::size_t index = 0; index < motors.size(); ++index) {
      struct motor_feedback feedback = {};
      if (motor_get_feedback(motors.at(index), &feedback) == 0) {
        connected_bits.set(index, feedback.online && !feedback.stale);
        safe_bits.set(index, true);
      }
    }

    (void)send_serialized(Command::CALLBACK_MOTOR_STATUS, connected_bits, safe_bits);
  }
};

RoboMasterProtocolService::RoboMasterProtocolService(
  const struct device * control_can, MotorControlService & motor_control,
  const std::array<const struct device *, MotorCount> & motors)
: impl_(new Impl(control_can, motor_control, motors))
{
}

int RoboMasterProtocolService::start()
{
  const struct can_filter cmd_filter = {
    .id = CmdId + ProtocolOffset,
    .mask = CAN_STD_ID_MASK,
    .flags = 0U,
  };
  const struct can_filter heartbeat_filter = {
    .id = HeartbeatId,
    .mask = CAN_STD_ID_MASK,
    .flags = 0U,
  };

  impl_->cmd_filter_id =
    can_add_rx_filter(impl_->control_can, Impl::rx_callback, impl_, &cmd_filter);
  if (impl_->cmd_filter_id < 0) {
    return impl_->cmd_filter_id;
  }

  impl_->heartbeat_filter_id =
    can_add_rx_filter(impl_->control_can, Impl::rx_callback, impl_, &heartbeat_filter);
  if (impl_->heartbeat_filter_id < 0) {
    return impl_->heartbeat_filter_id;
  }

  const int ret = can_start(impl_->control_can);
  if ((ret < 0) && (ret != -EALREADY)) {
    return ret;
  }

  impl_->thread_id = k_thread_create(
    &impl_->thread, impl_->stack, K_KERNEL_STACK_SIZEOF(impl_->stack), Impl::thread_entry, impl_,
    nullptr, nullptr, K_PRIO_PREEMPT(7), 0, K_NO_WAIT);
  if (impl_->thread_id == nullptr) {
    return -EINVAL;
  }
  k_thread_name_set(impl_->thread_id, "rm_proto");
  return 0;
}

bool RoboMasterProtocolService::connected() const
{
  return impl_->connected();
}

}  // namespace fibril
```
